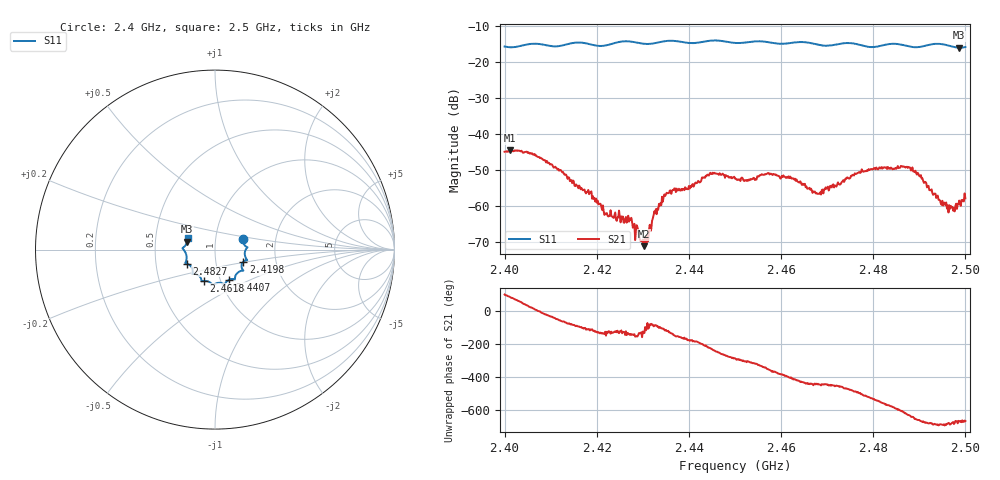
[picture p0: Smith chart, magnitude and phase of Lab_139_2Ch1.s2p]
# Hz S RI R 50
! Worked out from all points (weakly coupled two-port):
!   601 points, 2.4 GHz to 2.5 GHz, reference 50 ohm
!   highest |S21| = -44.42 dB at 2.4012 GHz (marker M1); lowest = -71.2 dB at 2.4302 GHz (marker M2)
!   lowest |S11| = -15.9 dB at 2.4987 GHz (marker M3), VSWR 1.38, Z = 36.5 + j3.25 ohm
!   |S11| at or under -10 dB: start of sweep to end of sweep
!   S12 and S22 are empty: the file has one direction only
!   S11 on the Smith chart (normalised r, x): 2.4 GHz: 1.35, +0.17; 2.4198 GHz: 1.36, -0.19; 2.4407 GHz: 1.10, -0.38; 2.4618 GHz: 0.83, -0.30; 2.4827 GHz: 0.72, -0.12; 2.5 GHz: 0.73, +0.10
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2.4e9  0.1545 0.0615  -0.000842 0.00564  0 0  0 0
2.401167e9  0.1558 0.0463  0.000628 0.00598  0 0  0 0
2.407e9  0.1812 0.0119  0.00492 0.000366  0 0  0 0
2.416667e9  0.1789 -0.0588  -0.000251 -0.00178  0 0  0 0
2.419833e9  0.1573 -0.0677  -0.000755 -0.00103  0 0  0 0
2.422167e9  0.1477 -0.0909  -0.000486 -0.000635  0 0  0 0
2.427167e9  0.1567 -0.1171  -0.000553 -0.000382  0 0  0 0
2.430167e9  0.1324 -0.1246  -0.00019 -0.000201  0 0  0 0
2.433333e9  0.1117 -0.1529  -8.4e-05 -0.000888  0 0  0 0
2.4355e9  0.1116 -0.1655  -0.000788 -0.00129  0 0  0 0
2.440667e9  0.0792 -0.1675  -0.00197 -7.37e-05  0 0  0 0
2.445e9  0.0539 -0.1939  -0.0017 0.00222  0 0  0 0
2.45e9  0.0269 -0.1848  0.000775 0.00229  0 0  0 0
2.461833e9  -0.0616 -0.1748  0.00173 -0.00174  0 0  0 0
2.466667e9  -0.0758 -0.1681  0.000227 -0.00164  0 0  0 0
2.468167e9  -0.0806 -0.1557  8.68e-05 -0.00148  0 0  0 0
2.482667e9  -0.1581 -0.0779  -0.00299 0.00167  0 0  0 0
2.483333e9  -0.1622 -0.0768  -0.00282 0.00178  0 0  0 0
2.488e9  -0.1582 -0.0489  0.000357 0.00342  0 0  0 0
2.494667e9  -0.1799 0.00928  0.000932 0.00057  0 0  0 0
2.498667e9  -0.1541 0.0433  0.000756 0.000923  0 0  0 0
2.5e9  -0.151 0.0632  0.0008 0.001  0 0  0 0
